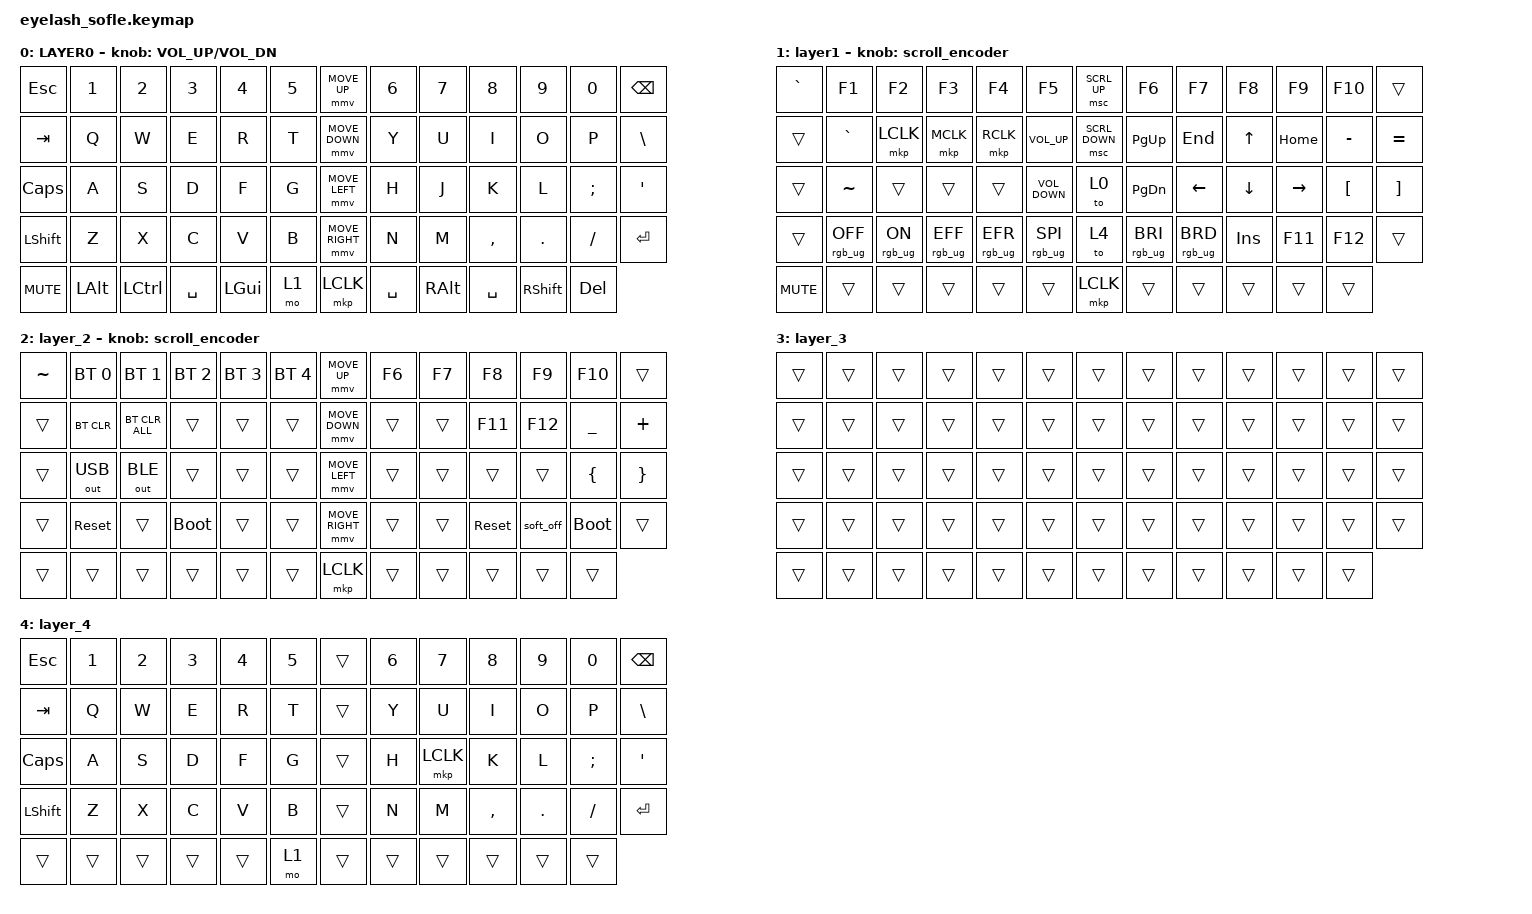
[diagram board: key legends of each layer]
#define ZMK_POINTING_DEFAULT_MOVE_VAL 1200  // 600
#define ZMK_POINTING_DEFAULT_SCRL_VAL 35    // 10

#include <input/processors.dtsi>
#include <zephyr/dt-bindings/input/input-event-codes.h>
#include <behaviors.dtsi>
#include <dt-bindings/zmk/bt.h>
#include <dt-bindings/zmk/keys.h>
#include <dt-bindings/zmk/outputs.h>
#include <dt-bindings/zmk/pointing.h>
#include <dt-bindings/zmk/rgb.h>

/ {
    zip_scroll_scaler: zip_scroll_scaler {
        compatible = "zmk,input-processor-scaler";
        #input-processor-cells = <2>;
        type = <INPUT_EV_REL>;
        codes = <INPUT_REL_WHEEL INPUT_REL_HWHEEL>;
        track-remainders;
    };
};

&mmv_input_listener { input-processors = <&zip_xy_scaler 2 1>; };

&msc_input_listener { input-processors = <&zip_scroll_scaler 2 1>; };

&msc {
    acceleration-exponent = <0>;      // 0
    time-to-max-speed-ms = <0>;       // 300
    delay-ms = <0>;                   // 0
};

&mmv {
    time-to-max-speed-ms = <400>;
    acceleration-exponent = <1>;
};

/ {
    scroll_encoder: scroll_encoder {
        compatible = "zmk,behavior-sensor-rotate";
        #sensor-binding-cells = <0>;
        bindings = <&msc SCRL_DOWN>, <&msc SCRL_UP>;

        tap-ms = <30>;
    };

    macros {
        shift_MB3: shift_MB3 {
            compatible = "zmk,behavior-macro";
            #binding-cells = <0>;
            bindings =
                <&macro_press>,
                <&kp LEFT_SHIFT>,
                <&macro_press>,
                <&mkp MB3>,
                <&macro_pause_for_release>,
                <&macro_release>,
                <&mkp MB3 &kp LEFT_SHIFT>;

            label = "SHIFT_MB3";
        };
    };

    behaviors {
    };

    keymap {
        compatible = "zmk,keymap";

        layer0 {
            bindings = <
&kp ESC     &kp N1    &kp N2     &kp N3     &kp N4    &kp N5    &mmv MOVE_UP     &kp N6     &kp N7    &kp N8     &kp N9           &kp N0    &kp BACKSPACE
&kp TAB     &kp Q     &kp W      &kp E      &kp R     &kp T     &mmv MOVE_DOWN   &kp Y      &kp U     &kp I      &kp O            &kp P     &kp BSLH
&kp CAPS    &kp A     &kp S      &kp D      &kp F     &kp G     &mmv MOVE_LEFT   &kp H      &kp J     &kp K      &kp L            &kp SEMI  &kp APOS
&kp LSHFT   &kp Z     &kp X      &kp C      &kp V     &kp B     &mmv MOVE_RIGHT  &kp N      &kp M     &kp COMMA  &kp DOT          &kp FSLH  &kp ENTER
&kp C_MUTE  &kp LALT  &kp LCTRL  &kp SPACE  &kp LGUI  &mo 1     &mkp LCLK        &kp SPACE  &kp RALT  &kp SPACE  &kp RIGHT_SHIFT  &kp DEL
            >;

            sensor-bindings = <&inc_dec_kp C_VOLUME_UP C_VOL_DN>;
            display-name = "LAYER0";
        };

        layer_1 {
            bindings = <
&kp GRAVE   &kp F1           &kp F2          &kp F3           &kp F4           &kp F5               &msc SCRL_UP    &kp F6           &kp F7           &kp F8      &kp F9     &kp F10           &trans
&trans      &kp GRAVE        &mkp LCLK       &mkp MCLK        &mkp RCLK        &kp C_VOLUME_UP      &msc SCRL_DOWN  &kp PG_UP        &kp END          &kp UP      &kp HOME   &kp MINUS         &kp EQUAL
&trans      &kp TILDE        &trans          &trans           &trans           &kp C_VOLUME_DOWN    &to 0           &kp PG_DN        &kp LEFT         &kp DOWN    &kp RIGHT  &kp LEFT_BRACKET  &kp RIGHT_BRACKET
&trans      &rgb_ug RGB_OFF  &rgb_ug RGB_ON  &rgb_ug RGB_EFF  &rgb_ug RGB_EFR  &rgb_ug RGB_SPI      &to 4           &rgb_ug RGB_BRI  &rgb_ug RGB_BRD  &kp INSERT  &kp F11    &kp F12           &trans
&kp C_MUTE  &trans           &trans          &trans           &trans           &trans               &mkp LCLK       &trans           &trans           &trans      &trans     &trans
            >;

            display-name = "layer1";
            sensor-bindings = <&scroll_encoder>;
        };

        layer_2 {
            bindings = <
&kp TILDE  &bt BT_SEL 0  &bt BT_SEL 1    &bt BT_SEL 2  &bt BT_SEL 3  &bt BT_SEL 4    &mmv MOVE_UP     &kp F6  &kp F7  &kp F8      &kp F9     &kp F10      &trans
&trans     &bt BT_CLR    &bt BT_CLR_ALL  &trans        &trans        &trans          &mmv MOVE_DOWN   &trans  &trans  &kp F11     &kp F12    &kp UNDER    &kp PLUS
&trans     &out OUT_USB  &out OUT_BLE    &trans        &trans        &trans          &mmv MOVE_LEFT   &trans  &trans  &trans      &trans     &kp LBRC     &kp RBRC
&trans     &sys_reset    &trans          &bootloader   &trans        &trans          &mmv MOVE_RIGHT  &trans  &trans  &sys_reset  &soft_off  &bootloader  &trans
&trans     &trans        &trans          &trans        &trans        &trans          &mkp LCLK        &trans  &trans  &trans      &trans     &trans
            >;

            sensor-bindings = <&scroll_encoder>;
        };

        layer_3 {
            bindings = <
&trans  &trans  &trans  &trans  &trans  &trans    &trans  &trans  &trans  &trans  &trans  &trans  &trans
&trans  &trans  &trans  &trans  &trans  &trans    &trans  &trans  &trans  &trans  &trans  &trans  &trans
&trans  &trans  &trans  &trans  &trans  &trans    &trans  &trans  &trans  &trans  &trans  &trans  &trans
&trans  &trans  &trans  &trans  &trans  &trans    &trans  &trans  &trans  &trans  &trans  &trans  &trans
&trans  &trans  &trans  &trans  &trans  &trans    &trans  &trans  &trans  &trans  &trans  &trans
            >;
        };

        layer_4 {
            bindings = <
&kp ESC    &kp N1  &kp N2  &kp N3  &kp N4  &kp N5    &trans  &kp N6  &kp N7     &kp N8     &kp N9   &kp N0    &kp BSPC
&kp TAB    &kp Q   &kp W   &kp E   &kp R   &kp T     &trans  &kp Y   &kp U      &kp I      &kp O    &kp P     &kp BSLH
&kp CAPS   &kp A   &kp S   &kp D   &kp F   &kp G     &trans  &kp H   &mkp LCLK  &kp K      &kp L    &kp SEMI  &kp SQT
&kp LSHFT  &kp Z   &kp X   &kp C   &kp V   &kp B     &trans  &kp N   &kp M      &kp COMMA  &kp DOT  &kp FSLH  &kp RET
&trans     &trans  &trans  &trans  &trans  &mo 1     &trans  &trans  &trans     &trans     &trans   &trans
            >;
        };
    };
};
